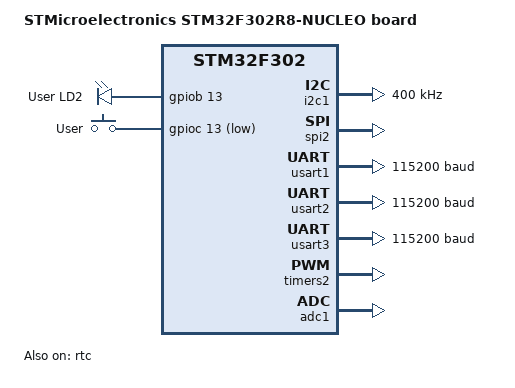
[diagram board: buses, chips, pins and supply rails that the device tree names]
/*
 * Copyright (c) 2018 Seitz & Associates
 *
 * SPDX-License-Identifier: Apache-2.0
 */

/dts-v1/;
#include <st/f3/stm32f302X8.dtsi>
#include "arduino_r3_connector.dtsi"

/ {
	model = "STMicroelectronics STM32F302R8-NUCLEO board";
	compatible = "st,stm32f302r8-nucleo", "st,stm32f302";

	chosen {
		zephyr,console = &usart2;
		zephyr,shell-uart = &usart2;
		zephyr,sram = &sram0;
		zephyr,flash = &flash0;
	};

	leds {
		compatible = "gpio-leds";
		green_led_2: led_2 {
			gpios = <&gpiob 13 GPIO_INT_ACTIVE_HIGH>;
			label = "User LD2";
		};
	};

	gpio_keys {
		compatible = "gpio-keys";
		user_button: button {
			label = "User";
			gpios = <&gpioc 13 GPIO_INT_ACTIVE_LOW>;
		};
	};

	aliases {
		led0 = &green_led_2;
		sw0 = &user_button;
	};
};

&i2c1 {
      status = "okay";
      clock-frequency = <I2C_BITRATE_FAST>;
};

&spi2 {
	status = "okay";
};

&usart1 {
	current-speed = <115200>;
	pinctrl-0 = <&usart1_pins_b>;
	pinctrl-names = "default";
	status = "okay";
};
&usart2 {
	current-speed = <115200>;
	pinctrl-0 = <&usart2_pins_a>;
	pinctrl-names = "default";
	status = "okay";
};
&usart3 {
	current-speed = <115200>;
	pinctrl-0 = <&usart3_pins_a>;
	pinctrl-names = "default";
	status = "okay";
};

&timers2 {
	status = "okay";

	pwm {
		status = "okay";
	};
};

&rtc {
	status = "okay";
};

&adc1 {
	status = "okay";
};
